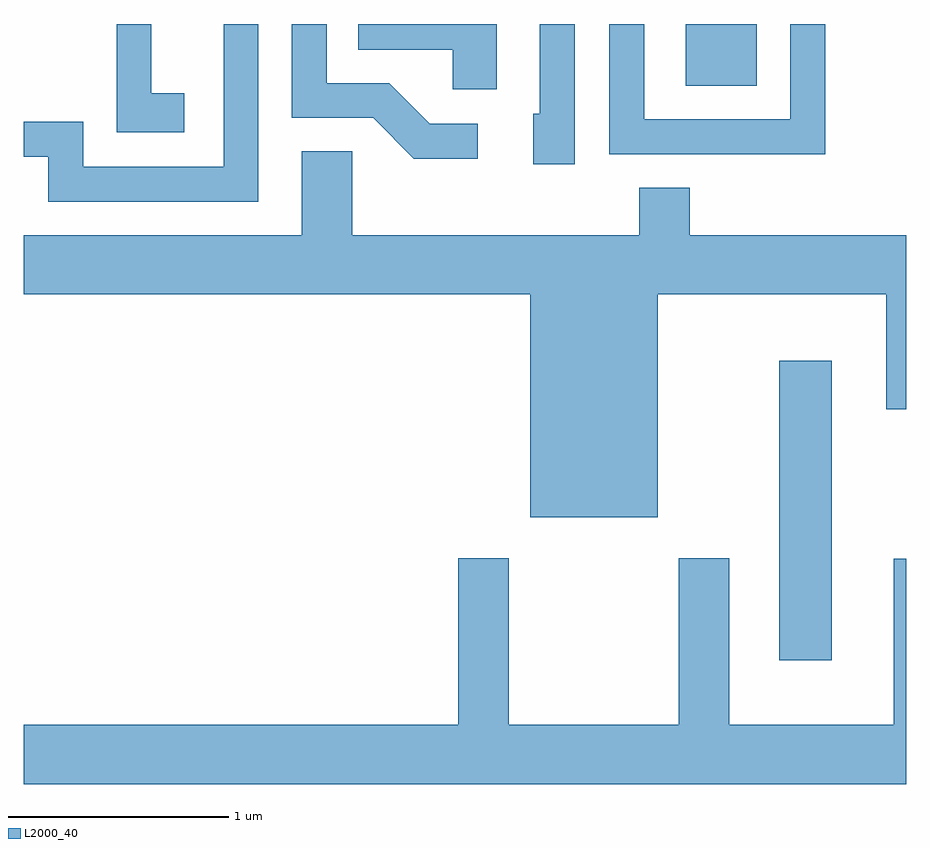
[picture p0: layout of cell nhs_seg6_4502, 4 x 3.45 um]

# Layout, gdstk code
import gdstk
lib = gdstk.Library(unit=1e-6, precision=1e-09)
def R(c, l, rs):  # rectangles x0, y0, x1, y1
    for r in rs: c.add(gdstk.rectangle(r[:2], r[2:], *l))
def P(c, l, *ps):  # polygons
    for p in ps: c.add(gdstk.Polygon(p, *l))
L2000_40 = (2000, 40)

nhs_seg6_4502 = lib.new_cell('nhs_seg6_4502')
R(nhs_seg6_4502, L2000_40, [(327.036,1537.276,327.274,1538.634), (326.611,1539.881,326.934,1540.162)])
P(nhs_seg6_4502, L2000_40, [(325.668,1539.709),(325.452,1539.709),(325.267,1539.894),(324.984,1539.894),(324.984,1540.162),(324.826,1540.162),(324.826,1539.736),(325.194,1539.736),(325.379,1539.551),(325.668,1539.551)],
  [(325.754,1540.162),(325.128,1540.162),(325.128,1540.046),(325.556,1540.046),(325.556,1539.866),(325.754,1539.866)],
  [(324.674,1540.162),(324.516,1540.162),(324.516,1539.514),(323.879,1539.514),(323.879,1539.719),(323.611,1539.719),(323.611,1539.561),(323.721,1539.561),(323.721,1539.356),(324.674,1539.356)],
  [(326.109,1540.162),(325.951,1540.162),(325.951,1539.754),(325.921,1539.754),(325.921,1539.526),(326.109,1539.526)],
  [(324.339,1539.849),(324.189,1539.849),(324.189,1540.162),(324.031,1540.162),(324.031,1539.671),(324.339,1539.671)],
  [(327.244,1540.162),(327.086,1540.162),(327.086,1539.729),(326.424,1539.729),(326.424,1540.162),(326.266,1540.162),(326.266,1539.571),(327.244,1539.571)],
  [(326.484,1538.936),(327.521,1538.936),(327.521,1538.416),(327.611,1538.416),(327.611,1539.204),(326.629,1539.204),(326.629,1539.419),(326.401,1539.419),(326.401,1539.204),(325.099,1539.204),(325.099,1539.584),(324.871,1539.584),(324.871,1539.204),(323.611,1539.204),(323.611,1538.936),(325.906,1538.936),(325.906,1537.926),(326.484,1537.926)],
  [(327.611,1537.738),(327.556,1537.738),(327.556,1536.984),(326.809,1536.984),(326.809,1537.739),(326.581,1537.739),(326.581,1536.984),(325.809,1536.984),(325.809,1537.739),(325.581,1537.739),(325.581,1536.984),(323.611,1536.984),(323.611,1536.716),(327.611,1536.716)])

lib.write_gds('nhs_seg6_4502.gds')
